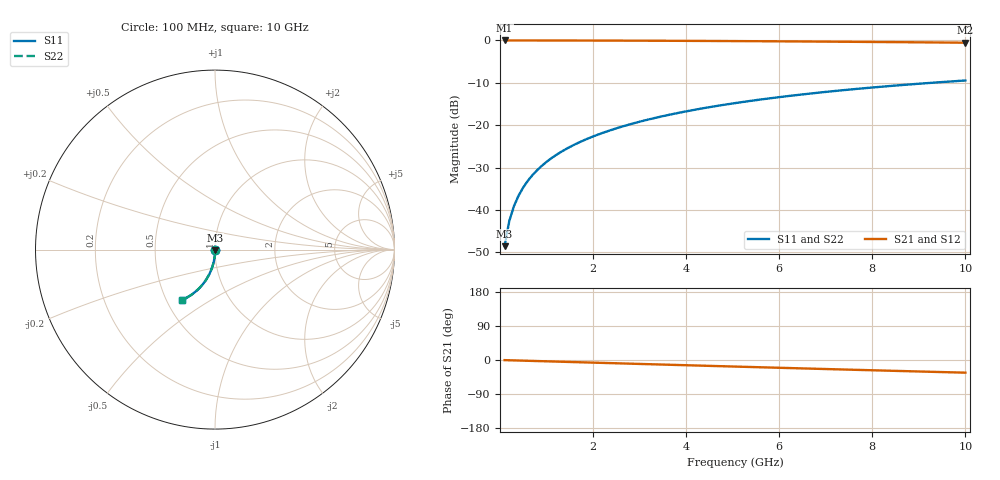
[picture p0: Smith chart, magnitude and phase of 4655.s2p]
# Hz S RI R 50.00
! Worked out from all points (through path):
!   100 points, 100 MHz to 10 GHz, reference 50 ohm
!   highest |S21| = -0.01 dB at 100 MHz (marker M1); lowest = -0.5 dB at 10 GHz (marker M2)
!   group delay of S21, straight-line fit = 9.31 ps
!   lowest |S11| = -48.5 dB at 100 MHz (marker M3), VSWR 1.01, Z = 50.1 - j0.371 ohm
!   |S11| at or under -10 dB: start of sweep to 9.264 GHz
!   |S22| runs from -48.5 to -9.4 dB; largest |S21 - S12| = 0
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1e8  0.000609 -0.0037  0.9993 -0.00604  0.9993 -0.00604  0.000609 -0.0037
2e8  0.000541 -0.0074  0.9992 -0.0121  0.9992 -0.0121  0.000541 -0.0074
3e8  0.000428 -0.0111  0.9991 -0.0181  0.9991 -0.0181  0.000428 -0.0111
4e8  0.000269 -0.0148  0.9989 -0.0242  0.9989 -0.0242  0.000269 -0.0148
5e8  6.55e-05 -0.0185  0.9987 -0.0302  0.9987 -0.0302  6.55e-05 -0.0185
6e8  -0.000183 -0.0222  0.9984 -0.0362  0.9984 -0.0362  -0.000183 -0.0222
7e8  -0.000476 -0.0259  0.9981 -0.0423  0.9981 -0.0423  -0.000476 -0.0259
8e8  -0.000814 -0.0296  0.9977 -0.0483  0.9977 -0.0483  -0.000814 -0.0296
9e8  -0.0012 -0.0332  0.9973 -0.0543  0.9973 -0.0543  -0.0012 -0.0332
1.1e9  -0.00209 -0.0406  0.9963 -0.0663  0.9963 -0.0663  -0.00209 -0.0406
1.4e9  -0.00377 -0.0515  0.9944 -0.0843  0.9944 -0.0843  -0.00377 -0.0515
1.8e9  -0.00662 -0.066  0.9911 -0.1082  0.9911 -0.1082  -0.00662 -0.066
2.1e9  -0.00921 -0.0768  0.9882 -0.126  0.9882 -0.126  -0.00921 -0.0768
2.5e9  -0.0133 -0.091  0.9837 -0.1496  0.9837 -0.1496  -0.0133 -0.091
2.9e9  -0.018 -0.1049  0.9783 -0.1729  0.9783 -0.1729  -0.018 -0.1049
3.4e9  -0.0248 -0.1219  0.9707 -0.2016  0.9707 -0.2016  -0.0248 -0.1219
4.2e9  -0.0377 -0.148  0.9561 -0.2466  0.9561 -0.2466  -0.0377 -0.148
5.1e9  -0.0549 -0.1756  0.9365 -0.2954  0.9365 -0.2954  -0.0549 -0.1756
5.9e9  -0.0724 -0.1983  0.9164 -0.337  0.9164 -0.337  -0.0724 -0.1983
6.7e9  -0.0918 -0.219  0.8942 -0.3767  0.8942 -0.3767  -0.0918 -0.219
8.4e9  -0.1378 -0.256  0.8408 -0.4542  0.8408 -0.4542  -0.1378 -0.256
1e10  -0.1855 -0.2815  0.7846 -0.5181  0.7846 -0.5181  -0.1855 -0.2815
